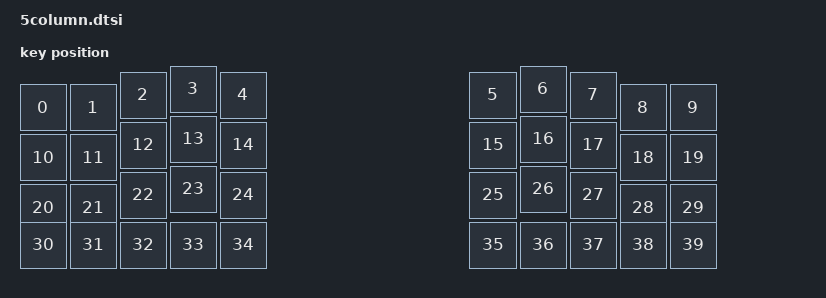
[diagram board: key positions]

#include <layouts/foostan/corne/position_map.dtsi>
#include <physical_layouts.dtsi>

/ {
    foostan_corne_5col_layout: foostan_corne_5col_layout {
        compatible = "zmk,physical-layout";
        display-name = "5 Column";

        keys
            // Top row: 10 keys
            = <&key_physical_attrs 100 100    0   37 0 0 0>
            , <&key_physical_attrs 100 100  100   37 0 0 0>
            , <&key_physical_attrs 100 100  200   12 0 0 0>
            , <&key_physical_attrs 100 100  300    0 0 0 0>
            , <&key_physical_attrs 100 100  400   12 0 0 0>
            , <&key_physical_attrs 100 100  900   12 0 0 0>
            , <&key_physical_attrs 100 100 1000    0 0 0 0>
            , <&key_physical_attrs 100 100 1100   12 0 0 0>
            , <&key_physical_attrs 100 100 1200   37 0 0 0>
            , <&key_physical_attrs 100 100 1300   37 0 0 0>

            // Second row: 10 keys
            , <&key_physical_attrs 100 100    0  137 0 0 0>
            , <&key_physical_attrs 100 100  100  137 0 0 0>
            , <&key_physical_attrs 100 100  200  112 0 0 0>
            , <&key_physical_attrs 100 100  300  100 0 0 0>
            , <&key_physical_attrs 100 100  400  112 0 0 0>
            , <&key_physical_attrs 100 100  900  112 0 0 0>
            , <&key_physical_attrs 100 100 1000  100 0 0 0>
            , <&key_physical_attrs 100 100 1100  112 0 0 0>
            , <&key_physical_attrs 100 100 1200  137 0 0 0>
            , <&key_physical_attrs 100 100 1300  137 0 0 0>

            // Third row: 10 keys
            , <&key_physical_attrs 100 100    0  237 0 0 0>
            , <&key_physical_attrs 100 100  100  237 0 0 0>
            , <&key_physical_attrs 100 100  200  212 0 0 0>
            , <&key_physical_attrs 100 100  300  200 0 0 0>
            , <&key_physical_attrs 100 100  400  212 0 0 0>
            , <&key_physical_attrs 100 100  900  212 0 0 0>
            , <&key_physical_attrs 100 100 1000  200 0 0 0>
            , <&key_physical_attrs 100 100 1100  212 0 0 0>
            , <&key_physical_attrs 100 100 1200  237 0 0 0>
            , <&key_physical_attrs 100 100 1300  237 0 0 0>

            // Thumb row: 10 keys
            // Left half
            , <&key_physical_attrs 100 100    0  312 0 0 0>
            , <&key_physical_attrs 100 100  100  312 0 0 0>
            , <&key_physical_attrs 100 100  200  312 0 0 0>
            , <&key_physical_attrs 100 100  300  312 0 0 0>
            , <&key_physical_attrs 100 100  400  312 0 0 0>

            // Right half
            , <&key_physical_attrs 100 100  900  312 0 0 0>
            , <&key_physical_attrs 100 100 1000  312 0 0 0>
            , <&key_physical_attrs 100 100 1100  312 0 0 0>
            , <&key_physical_attrs 100 100 1200  312 0 0 0>
            , <&key_physical_attrs 100 100 1300  312 0 0 0>
        ;
    };
};

&layouts_foostan_corne_position_map {
    foostan_corne_5col_posmap: five {
        physical-layout = <&foostan_corne_5col_layout>;

        positions =
            < 0  1  2  3  4  5  6  7  8  9>
            , <10 11 12 13 14 15 16 17 18 19>
            , <20 21 22 23 24 25 26 27 28 29>
            , <30 31 32 33 34 35 36 37 38 39>;
    };
};
